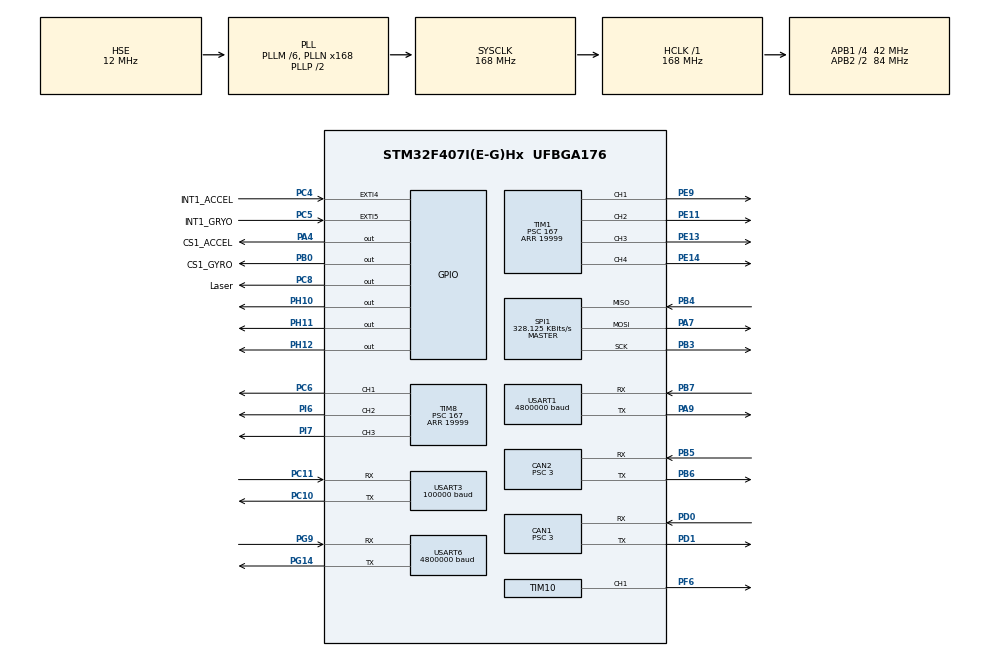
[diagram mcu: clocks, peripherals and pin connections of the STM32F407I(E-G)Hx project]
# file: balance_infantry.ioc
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CAN1.BS1=CAN_BS1_10TQ
CAN1.BS2=CAN_BS2_3TQ
CAN1.CalculateBaudRate=1000000
CAN1.CalculateTimeBit=1000
CAN1.CalculateTimeQuantum=71.42857142857143
CAN1.Prescaler=3
CAN2.BS1=CAN_BS1_10TQ
CAN2.BS2=CAN_BS2_3TQ
CAN2.CalculateBaudRate=1000000
CAN2.CalculateTimeBit=1000
CAN2.CalculateTimeQuantum=71.42857142857143
CAN2.Prescaler=3
Dma.Request0=SPI1_RX
Dma.Request1=SPI1_TX
Dma.Request2=USART6_RX
Dma.Request3=USART6_TX
Dma.Request4=USART3_RX
Dma.Request5=USART1_RX
Dma.Request6=USART1_TX
Dma.SPI1_RX.0.Direction=DMA_PERIPH_TO_MEMORY
Dma.SPI1_RX.0.FIFOMode=DMA_FIFOMODE_DISABLE
Dma.SPI1_RX.0.Instance=DMA2_Stream0
Dma.SPI1_RX.0.MemDataAlignment=DMA_MDATAALIGN_BYTE
Dma.SPI1_RX.0.MemInc=DMA_MINC_ENABLE
Dma.SPI1_RX.0.Mode=DMA_NORMAL
Dma.SPI1_RX.0.PeriphDataAlignment=DMA_PDATAALIGN_BYTE
Dma.SPI1_RX.0.PeriphInc=DMA_PINC_DISABLE
Dma.SPI1_RX.0.Priority=DMA_PRIORITY_VERY_HIGH
Dma.SPI1_TX.1.Direction=DMA_MEMORY_TO_PERIPH
Dma.SPI1_TX.1.FIFOMode=DMA_FIFOMODE_DISABLE
Dma.SPI1_TX.1.Instance=DMA2_Stream3
Dma.SPI1_TX.1.MemDataAlignment=DMA_MDATAALIGN_BYTE
Dma.SPI1_TX.1.MemInc=DMA_MINC_ENABLE
Dma.SPI1_TX.1.Mode=DMA_NORMAL
Dma.SPI1_TX.1.PeriphDataAlignment=DMA_PDATAALIGN_BYTE
Dma.SPI1_TX.1.PeriphInc=DMA_PINC_DISABLE
Dma.SPI1_TX.1.Priority=DMA_PRIORITY_HIGH
Dma.USART1_RX.5.Direction=DMA_PERIPH_TO_MEMORY
Dma.USART1_RX.5.FIFOMode=DMA_FIFOMODE_DISABLE
Dma.USART1_RX.5.Instance=DMA2_Stream2
Dma.USART1_RX.5.MemDataAlignment=DMA_MDATAALIGN_BYTE
Dma.USART1_RX.5.MemInc=DMA_MINC_ENABLE
Dma.USART1_RX.5.Mode=DMA_NORMAL
Dma.USART1_RX.5.PeriphDataAlignment=DMA_PDATAALIGN_BYTE
Dma.USART1_RX.5.PeriphInc=DMA_PINC_DISABLE
Dma.USART1_RX.5.Priority=DMA_PRIORITY_HIGH
Dma.USART1_TX.6.Direction=DMA_MEMORY_TO_PERIPH
Dma.USART1_TX.6.FIFOMode=DMA_FIFOMODE_DISABLE
Dma.USART1_TX.6.Instance=DMA2_Stream7
Dma.USART1_TX.6.MemDataAlignment=DMA_MDATAALIGN_BYTE
Dma.USART1_TX.6.MemInc=DMA_MINC_ENABLE
Dma.USART1_TX.6.Mode=DMA_NORMAL
Dma.USART1_TX.6.PeriphDataAlignment=DMA_PDATAALIGN_BYTE
Dma.USART1_TX.6.PeriphInc=DMA_PINC_DISABLE
Dma.USART1_TX.6.Priority=DMA_PRIORITY_HIGH
Dma.USART3_RX.4.Direction=DMA_PERIPH_TO_MEMORY
Dma.USART3_RX.4.FIFOMode=DMA_FIFOMODE_DISABLE
Dma.USART3_RX.4.Instance=DMA1_Stream1
Dma.USART3_RX.4.MemDataAlignment=DMA_MDATAALIGN_BYTE
Dma.USART3_RX.4.MemInc=DMA_MINC_ENABLE
Dma.USART3_RX.4.Mode=DMA_NORMAL
Dma.USART3_RX.4.PeriphDataAlignment=DMA_PDATAALIGN_BYTE
Dma.USART3_RX.4.PeriphInc=DMA_PINC_DISABLE
Dma.USART3_RX.4.Priority=DMA_PRIORITY_HIGH
Dma.USART6_RX.2.Direction=DMA_PERIPH_TO_MEMORY
Dma.USART6_RX.2.FIFOMode=DMA_FIFOMODE_DISABLE
Dma.USART6_RX.2.Instance=DMA2_Stream1
Dma.USART6_RX.2.MemDataAlignment=DMA_MDATAALIGN_BYTE
Dma.USART6_RX.2.MemInc=DMA_MINC_ENABLE
Dma.USART6_RX.2.Mode=DMA_NORMAL
Dma.USART6_RX.2.PeriphDataAlignment=DMA_PDATAALIGN_BYTE
Dma.USART6_RX.2.PeriphInc=DMA_PINC_DISABLE
Dma.USART6_RX.2.Priority=DMA_PRIORITY_HIGH
Dma.USART6_TX.3.Direction=DMA_MEMORY_TO_PERIPH
Dma.USART6_TX.3.FIFOMode=DMA_FIFOMODE_DISABLE
Dma.USART6_TX.3.Instance=DMA2_Stream6
Dma.USART6_TX.3.MemDataAlignment=DMA_MDATAALIGN_BYTE
Dma.USART6_TX.3.MemInc=DMA_MINC_ENABLE
Dma.USART6_TX.3.Mode=DMA_NORMAL
Dma.USART6_TX.3.PeriphDataAlignment=DMA_PDATAALIGN_BYTE
Dma.USART6_TX.3.PeriphInc=DMA_PINC_DISABLE
Dma.USART6_TX.3.Priority=DMA_PRIORITY_HIGH
FREERTOS.Tasks01=defaultTask,0,128,StartDefaultTask,Default,NULL,Dynamic,NULL,NULL
Mcu.Family=STM32F4
Mcu.Name=STM32F407I(E-G)Hx
Mcu.Package=UFBGA176
NVIC.CAN1_RX0_IRQn=true\:5\:0\:false\:false\:true\:true\:true\:true\:true
NVIC.CAN2_RX0_IRQn=true\:5\:0\:false\:false\:true\:true\:true\:true\:true
NVIC.DMA1_Stream1_IRQn=true\:5\:0\:false\:false\:true\:true\:false\:true\:true
NVIC.DMA2_Stream0_IRQn=true\:5\:0\:false\:false\:false\:true\:false\:true\:true
NVIC.DMA2_Stream1_IRQn=true\:5\:0\:false\:false\:true\:true\:false\:true\:true
NVIC.DMA2_Stream2_IRQn=true\:5\:0\:false\:false\:true\:true\:false\:true\:true
NVIC.DMA2_Stream3_IRQn=true\:5\:0\:false\:false\:true\:true\:false\:true\:true
NVIC.DMA2_Stream6_IRQn=true\:5\:0\:false\:false\:true\:true\:false\:true\:true
NVIC.DMA2_Stream7_IRQn=true\:5\:0\:false\:false\:true\:true\:false\:true\:true
NVIC.EXTI4_IRQn=true\:5\:0\:false\:false\:true\:true\:true\:true\:true
NVIC.EXTI9_5_IRQn=true\:5\:0\:false\:false\:true\:true\:true\:true\:true
NVIC.PriorityGroup=NVIC_PRIORITYGROUP_4
NVIC.TIM3_IRQn=true\:5\:0\:false\:false\:false\:true\:true\:true\:true
NVIC.TIM4_IRQn=true\:5\:0\:false\:false\:false\:true\:true\:true\:true
NVIC.TIM5_IRQn=true\:5\:0\:false\:false\:false\:true\:true\:true\:true
NVIC.TIM6_DAC_IRQn=true\:5\:0\:false\:false\:false\:true\:true\:true\:true
NVIC.TIM7_IRQn=true\:15\:0\:false\:false\:true\:false\:false\:true\:true
NVIC.TimeBase=TIM7_IRQn
NVIC.TimeBaseIP=TIM7
NVIC.USART1_IRQn=true\:5\:0\:false\:false\:true\:true\:true\:true\:true
NVIC.USART3_IRQn=true\:5\:0\:false\:false\:false\:true\:true\:true\:true
NVIC.USART6_IRQn=true\:5\:0\:false\:false\:false\:true\:true\:true\:true
PA13.Mode=Serial_Wire
PA13.Signal=SYS_JTMS-SWDIO
PA14.Mode=Serial_Wire
PA14.Signal=SYS_JTCK-SWCLK
PA4.GPIO_Label=CS1_ACCEL
PA4.Signal=GPIO_Output
PA7.Mode=Full_Duplex_Master
PA7.Signal=SPI1_MOSI
PA9.Mode=Asynchronous
PA9.Signal=USART1_TX
PB0.GPIO_Label=CS1_GYRO
PB0.Signal=GPIO_Output
PB3.Mode=Full_Duplex_Master
PB3.Signal=SPI1_SCK
PB4.Mode=Full_Duplex_Master
PB4.Signal=SPI1_MISO
PB5.Mode=CAN_Activate
PB5.Signal=CAN2_RX
PB6.Mode=CAN_Activate
PB6.Signal=CAN2_TX
PB7.Mode=Asynchronous
PB7.Signal=USART1_RX
PC10.Mode=Asynchronous
PC10.Signal=USART3_TX
PC11.Mode=Asynchronous
PC11.Signal=USART3_RX
PC4.GPIO_Label=INT1_ACCEL
PC4.Signal=GPXTI4
PC5.GPIO_Label=INT1_GRYO
PC5.Signal=GPXTI5
PC6.Signal=S_TIM8_CH1
PC8.GPIO_Label=Laser
PC8.Signal=GPIO_Output
PD0.Mode=CAN_Activate
PD0.Signal=CAN1_RX
PD1.Mode=CAN_Activate
PD1.Signal=CAN1_TX
PE11.Signal=S_TIM1_CH2
PE13.Signal=S_TIM1_CH3
PE14.Signal=S_TIM1_CH4
PE9.Signal=S_TIM1_CH1
PF6.Signal=S_TIM10_CH1
PG14.Mode=Asynchronous
PG14.Signal=USART6_TX
PG9.Mode=Asynchronous
PG9.Signal=USART6_RX
PH0-OSC_IN.Mode=HSE-External-Oscillator
PH0-OSC_IN.Signal=RCC_OSC_IN
PH1-OSC_OUT.Mode=HSE-External-Oscillator
PH1-OSC_OUT.Signal=RCC_OSC_OUT
PH10.Signal=GPIO_Output
PH11.Signal=GPIO_Output
PH12.Signal=GPIO_Output
PI6.Signal=S_TIM8_CH2
PI7.Signal=S_TIM8_CH3
ProjectManager.HeapSize=0x2000
ProjectManager.StackSize=0x2000
ProjectManager.TargetToolchain=MDK-ARM V5.32
RCC.48MHZClocksFreq_Value=84000000
RCC.AHBFreq_Value=168000000
RCC.APB1CLKDivider=RCC_HCLK_DIV4
RCC.APB1Freq_Value=42000000
RCC.APB1TimFreq_Value=84000000
RCC.APB2CLKDivider=RCC_HCLK_DIV2
RCC.APB2Freq_Value=84000000
RCC.APB2TimFreq_Value=168000000
RCC.CortexFreq_Value=168000000
RCC.HCLKFreq_Value=168000000
RCC.HSE_VALUE=12000000
RCC.HSI_VALUE=16000000
RCC.LSE_VALUE=32768
RCC.PLLM=6
RCC.PLLN=168
RCC.PLLSourceVirtual=RCC_PLLSOURCE_HSE
RCC.SYSCLKFreq_VALUE=168000000
RCC.SYSCLKSource=RCC_SYSCLKSOURCE_PLLCLK
RCC.VCOOutputFreq_Value=336000000
SH.S_TIM10_CH1.0=TIM10_CH1,PWM Generation1 CH1
SH.S_TIM1_CH1.0=TIM1_CH1,PWM Generation1 CH1
SH.S_TIM1_CH2.0=TIM1_CH2,PWM Generation2 CH2
SH.S_TIM1_CH3.0=TIM1_CH3,PWM Generation3 CH3
SH.S_TIM1_CH4.0=TIM1_CH4,PWM Generation4 CH4
SH.S_TIM8_CH1.0=TIM8_CH1,PWM Generation1 CH1
SH.S_TIM8_CH2.0=TIM8_CH2,PWM Generation2 CH2
SH.S_TIM8_CH3.0=TIM8_CH3,PWM Generation3 CH3
SPI1.BaudRatePrescaler=SPI_BAUDRATEPRESCALER_256
SPI1.CLKPhase=SPI_PHASE_2EDGE
SPI1.CLKPolarity=SPI_POLARITY_HIGH
SPI1.CalculateBaudRate=328.125 KBits/s
SPI1.Direction=SPI_DIRECTION_2LINES
SPI1.Mode=SPI_MODE_MASTER
SPI1.VirtualType=VM_MASTER
TIM1.Channel-PWM\ Generation1\ CH1=TIM_CHANNEL_1
TIM1.Channel-PWM\ Generation2\ CH2=TIM_CHANNEL_2
TIM1.Channel-PWM\ Generation3\ CH3=TIM_CHANNEL_3
TIM1.Channel-PWM\ Generation4\ CH4=TIM_CHANNEL_4
TIM1.Period=19999
TIM1.Prescaler=167
TIM1.Pulse-PWM\ Generation1\ CH1=1000
TIM1.Pulse-PWM\ Generation2\ CH2=1000
TIM1.Pulse-PWM\ Generation3\ CH3=1000
TIM1.Pulse-PWM\ Generation4\ CH4=1000
TIM10.Channel=TIM_CHANNEL_1
TIM10.Period=4999
TIM3.Period=999
TIM3.Prescaler=83
TIM4.Period=1999
TIM4.Prescaler=83
TIM5.Period=1999
TIM5.Prescaler=83
TIM6.Period=9999
TIM6.Prescaler=83
TIM8.Channel-PWM\ Generation1\ CH1=TIM_CHANNEL_1
TIM8.Channel-PWM\ Generation2\ CH2=TIM_CHANNEL_2
TIM8.Channel-PWM\ Generation3\ CH3=TIM_CHANNEL_3
TIM8.Period=19999
TIM8.Prescaler=167
TIM8.Pulse-PWM\ Generation1\ CH1=1000
TIM8.Pulse-PWM\ Generation2\ CH2=1000
TIM8.Pulse-PWM\ Generation3\ CH3=1000
USART1.BaudRate=4800000
USART1.VirtualMode=VM_ASYNC
USART3.BaudRate=100000
USART3.Parity=PARITY_EVEN
USART3.VirtualMode=VM_ASYNC
USART6.BaudRate=4800000
USART6.VirtualMode=VM_ASYNC
VP_FREERTOS_VS_CMSIS_V1.Mode=CMSIS_V1
VP_SYS_VS_tim7.Mode=TIM7
VP_TIM10_VS_ClockSourceINT.Mode=Enable_Timer
VP_TIM1_VS_ClockSourceINT.Mode=Internal
VP_TIM3_VS_ClockSourceINT.Mode=Internal
VP_TIM4_VS_ClockSourceINT.Mode=Internal
VP_TIM5_VS_ClockSourceINT.Mode=Internal
VP_TIM6_VS_ClockSourceINT.Mode=Enable_Timer
VP_TIM8_VS_ClockSourceINT.Mode=Internal
board=custom

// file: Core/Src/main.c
/* USER CODE BEGIN Header */
/**
  ******************************************************************************
  * @file           : main.c
  * @brief          : Main program body
  ******************************************************************************
  * @attention
  *
  * Copyright (c) 2022 STMicroelectronics.
  * All rights reserved.
  *
  * This software is licensed under terms that can be found in the LICENSE file
  * in the root directory of this software component.
  * If no LICENSE file comes with this software, it is provided AS-IS.
  *
  ******************************************************************************
  */
/* USER CODE END Header */
#include "main.h"
#include "cmsis_os.h"
#include "can.h"
#include "dma.h"
#include "spi.h"
#include "tim.h"
#include "usart.h"
#include "gpio.h"

/* USER CODE BEGIN Includes */
#include "bsp_delay.h"
#include "bsp_can.h"
#include "Remote.h"
#include "RefereeBehaviour.h"

/* USER CODE END Includes */

void SystemClock_Config(void);
void MX_FREERTOS_Init(void);

int main(void)
{

  /* MCU Configuration--------------------------------------------------------*/

  /* Reset of all peripherals, Initializes the Flash interface and the Systick. */
  HAL_Init();

  /* Configure the system clock */
  SystemClock_Config();

  /* Initialize all configured peripherals */
  MX_GPIO_Init();
  MX_DMA_Init();
  MX_CAN1_Init();
  MX_SPI1_Init();
  MX_TIM5_Init();
  MX_TIM10_Init();
  MX_CAN2_Init();
  MX_USART1_UART_Init();
  MX_USART3_UART_Init();
  MX_USART6_UART_Init();
  MX_TIM3_Init();
  MX_TIM4_Init();
  MX_TIM1_Init();
  MX_TIM8_Init();
  MX_TIM6_Init();
  /* USER CODE BEGIN 2 */
	 delay_init();
	 remote_control_init();
	can_filter_init();

	HAL_TIM_Base_Start_IT(&htim3);
	HAL_Delay(1);
	HAL_TIM_Base_Start_IT(&htim4);
	HAL_Delay(1);
	HAL_TIM_Base_Start_IT(&htim5);
	HAL_Delay(1);
	HAL_TIM_Base_Start_IT(&htim6);

	HAL_TIM_PWM_Start(&htim10, TIM_CHANNEL_1);
	QueueInit(&SendBuffer[0]);
	QueueInit(&SendBuffer[1]);

  /* USER CODE END 2 */

  /* Call init function for freertos objects (in freertos.c) */
  MX_FREERTOS_Init();

  /* Start scheduler */
  osKernelStart();

  /* We should never get here as control is now taken by the scheduler */
  /* Infinite loop */
  while (1)
  {

  }
}

void SystemClock_Config(void)
{
  RCC_OscInitTypeDef RCC_OscInitStruct = {0};
  RCC_ClkInitTypeDef RCC_ClkInitStruct = {0};

  /** Configure the main internal regulator output voltage
  */
  __HAL_RCC_PWR_CLK_ENABLE();
  __HAL_PWR_VOLTAGESCALING_CONFIG(PWR_REGULATOR_VOLTAGE_SCALE1);

  /** Initializes the RCC Oscillators according to the specified parameters
  * in the RCC_OscInitTypeDef structure.
  */
  RCC_OscInitStruct.OscillatorType = RCC_OSCILLATORTYPE_HSE;
  RCC_OscInitStruct.HSEState = RCC_HSE_ON;
  RCC_OscInitStruct.PLL.PLLState = RCC_PLL_ON;
  RCC_OscInitStruct.PLL.PLLSource = RCC_PLLSOURCE_HSE;
  RCC_OscInitStruct.PLL.PLLM = 6;
  RCC_OscInitStruct.PLL.PLLN = 168;
  RCC_OscInitStruct.PLL.PLLP = RCC_PLLP_DIV2;
  RCC_OscInitStruct.PLL.PLLQ = 4;
  if (HAL_RCC_OscConfig(&RCC_OscInitStruct) != HAL_OK)
  {
    Error_Handler();
  }

  /** Initializes the CPU, AHB and APB buses clocks
  */
  RCC_ClkInitStruct.ClockType = RCC_CLOCKTYPE_HCLK|RCC_CLOCKTYPE_SYSCLK
                              |RCC_CLOCKTYPE_PCLK1|RCC_CLOCKTYPE_PCLK2;
  RCC_ClkInitStruct.SYSCLKSource = RCC_SYSCLKSOURCE_PLLCLK;
  RCC_ClkInitStruct.AHBCLKDivider = RCC_SYSCLK_DIV1;
  RCC_ClkInitStruct.APB1CLKDivider = RCC_HCLK_DIV4;
  RCC_ClkInitStruct.APB2CLKDivider = RCC_HCLK_DIV2;

  if (HAL_RCC_ClockConfig(&RCC_ClkInitStruct, FLASH_LATENCY_5) != HAL_OK)
  {
    Error_Handler();
  }
}

void Error_Handler(void)
{
  __disable_irq();
  while (1)
  {
  }
}

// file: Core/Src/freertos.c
/* USER CODE BEGIN Header */
/**
  ******************************************************************************
  * File Name          : freertos.c
  * Description        : Code for freertos applications
  ******************************************************************************
  * @attention
  *
  * Copyright (c) 2022 STMicroelectronics.
  * All rights reserved.
  *
  * This software is licensed under terms that can be found in the LICENSE file
  * in the root directory of this software component.
  * If no LICENSE file comes with this software, it is provided AS-IS.
  *
  ******************************************************************************
  */
/* USER CODE END Header */

#include "FreeRTOS.h"
#include "task.h"
#include "main.h"
#include "cmsis_os.h"

/* USER CODE BEGIN Includes */
#include "AttitudeThread.h"
#include "CalculateThread.h"
#include "UIThread.h"
#include "CanSendThread.h"
#include "RefereeThread.h"
/* USER CODE END Includes */

//osThreadId defaultTaskHandle;

/* USER CODE BEGIN FunctionPrototypes */
osThreadId CalcThreadHandler;
osThreadId AttudThreadHandler;
osThreadId RefereeHandle;
osThreadId CanSendHandle;
osThreadId GUIHandle;

/* USER CODE END FunctionPrototypes */

void StartDefaultTask(void const * argument);

void MX_FREERTOS_Init(void); /* (MISRA C 2004 rule 8.1) */

/* GetIdleTaskMemory prototype (linked to static allocation support) */
void vApplicationGetIdleTaskMemory( StaticTask_t **ppxIdleTaskTCBBuffer, StackType_t **ppxIdleTaskStackBuffer, uint32_t *pulIdleTaskStackSize );

/* USER CODE BEGIN GET_IDLE_TASK_MEMORY */
static StaticTask_t xIdleTaskTCBBuffer;
static StackType_t xIdleStack[configMINIMAL_STACK_SIZE];

void vApplicationGetIdleTaskMemory( StaticTask_t **ppxIdleTaskTCBBuffer, StackType_t **ppxIdleTaskStackBuffer, uint32_t *pulIdleTaskStackSize )
{
  *ppxIdleTaskTCBBuffer = &xIdleTaskTCBBuffer;
  *ppxIdleTaskStackBuffer = &xIdleStack[0];
  *pulIdleTaskStackSize = configMINIMAL_STACK_SIZE;
  /* place for user code */
}
/* USER CODE END GET_IDLE_TASK_MEMORY */

void MX_FREERTOS_Init(void) {

  /* Create the thread(s) */
  /* definition and creation of defaultTask */
//  osThreadDef(defaultTask, StartDefaultTask, osPriorityIdle, 0, 128);
//  defaultTaskHandle = osThreadCreate(osThread(defaultTask), NULL);

  /* USER CODE BEGIN RTOS_THREADS */
  /* add threads, ... */
  osThreadDef(Attitude, AttitudeThread, osPriorityRealtime, 0, 1024);
  AttudThreadHandler = osThreadCreate(osThread(Attitude), NULL);

  /* definition and creation of Calculate */
  osThreadDef(Calculate, CalculateThread, osPriorityHigh, 0, 1024);
  CalcThreadHandler = osThreadCreate(osThread(Calculate), NULL);

  osThreadDef(GUI, UI, osPriorityNormal, 0, 512);
  GUIHandle = osThreadCreate(osThread(GUI), NULL);

  osThreadDef(Referee, RefereeTask, osPriorityNormal, 0, 512);
  RefereeHandle = osThreadCreate(osThread(Referee), NULL);

  osThreadDef(CanSend, CanSendTask, osPriorityNormal, 0, 512);
  CanSendHandle = osThreadCreate(osThread(CanSend), NULL);

  /* USER CODE END RTOS_THREADS */

}

//void StartDefaultTask(void const * argument)
//{
//  /* USER CODE BEGIN StartDefaultTask */
//  /* Infinite loop */
//  for(;;)
//  {
//    osDelay(1);
//  }
//  /* USER CODE END StartDefaultTask */
//}
